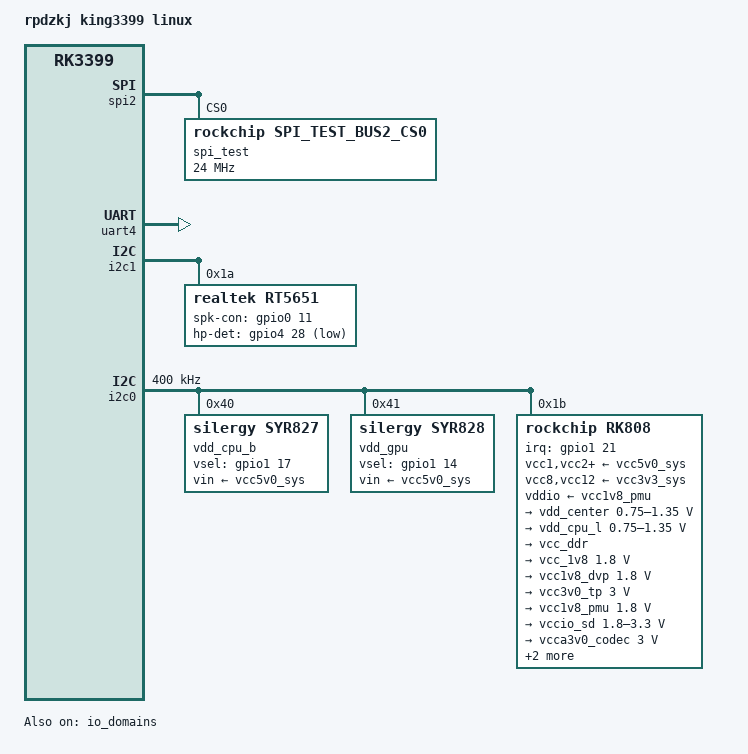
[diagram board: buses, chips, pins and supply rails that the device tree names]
#include "rk3399-sapphire-excavator-linux.dtsi"
#include "rp-usb-typec.dtsi"

//#include "rp-lcd-hdmi.dtsi"
//#include "rp-lcd-mipi-5-720-1280.dtsi"
//#include "rp-lcd-mipi-5.5-720-1280.dtsi"
//#include "rp-lcd-mipi-5.5-1080-1920.dtsi"
#include "rp-lcd-mipi-7-1024-600.dtsi"
//#include "rp-lcd-mipi-7-800-1280.dtsi"
//#include "rp-lcd-mipi-7-1200-1920.dtsi"
//#include "rp-lcd-mipi-8-800-1280.dtsi"
//#include "rp-lcd-mipi-8-800-1280-new.dtsi"
//#include "rp-lcd-mipi-10-800-1280.dtsi"
//#include "rp-lcd-mipi-10-1920-1200.dtsi"
//#include "rp-lcd-edp-13.3-1920-1080.dtsi"



/ {

        model = "rpdzkj king3399 linux";
        compatible = "rockchip,rk3399-excavator-linux", "rockchip,rk3399";

        rt5651-sound {
                compatible = "simple-audio-card";
                simple-audio-card,format = "i2s";
                simple-audio-card,name = "realtek,rt5651-codec";
                simple-audio-card,mclk-fs = <256>;
                simple-audio-card,widgets =
                        "Microphone", "Mic Jack",
                        "Headphone", "Headphone Jack";
                simple-audio-card,routing =
                        "Mic Jack", "MICBIAS1",
                        "IN1P", "Mic Jack",
                        "Headphone Jack", "HPOL",
                        "Headphone Jack", "HPOR";
                simple-audio-card,cpu {
                        sound-dai = <&i2s0>;
                };
                simple-audio-card,codec {
                        sound-dai = <&rt5651>;
                };
        };
        
        rp_power{
            compatible = "rp_power";

            rp_not_deep_sleep = <1>;
            status = "okay";

            // GPIO_FUNCTION_OUTPUT 0
            // GPIO_FUNCTION_INPUT 1
            // GPIO_FUNCTION_IRQ 2
            // GPIO_FUNCTION_FLASH 3
            // GPIO_FUNCTION_OUTPUT_CTRL 4
            
            breathe-led { //run led
                gpio_num = <&gpio4 24 GPIO_ACTIVE_HIGH>;
                gpio_function = <3>;
            };
            
            power_en { 
                gpio_num = <&gpio4 30 GPIO_ACTIVE_HIGH>;
                gpio_function = <4>;
            }; 
            
            uart5_en { 
                gpio_num = <&gpio4 29 GPIO_ACTIVE_HIGH>;
                gpio_function = <4>;
            }; 
            
            hub_rst { 
                gpio_num = <&gpio1 24 GPIO_ACTIVE_HIGH>;
                gpio_function = <4>;
            }; 
            
            fan_open { 
                gpio_num = <&gpio1 18 GPIO_ACTIVE_HIGH>;
                gpio_function = <4>;
            }; 
            
            gsm_power_en { 
                gpio_num = <&gpio4 22 GPIO_ACTIVE_HIGH>;
                gpio_function = <4>;
            }; 
        };

        rp_gpio{
                status = "okay";
                compatible = "rp_gpio";
                base_value = <0>; //3288_5.1 = 0   3288_7.1.2 = 992  3288_ubuntu = 992   3399_7.1.2 = 1000 3399_ubuntu = 0  

		gpio4c5 {
                	gpio_num = <&gpio4 21 GPIO_ACTIVE_HIGH>;
                        gpio_function = <0>;            //0:output，1:input
                };
	};
};

&spi2 {
	status = "okay";
	max-freq = <50000000>;
	spi_test:spi_test@00 {
		status = "okay";
		compatible = "rockchip,spi_test_bus2_cs0";
		id = <2>;
		reg = <0>;
		spi-max-frequency = <24000000>;
		spi-cpha;
		spi-cpol;
	};
};

&uart4 {
	status = "okay";
};


&i2c1 {
        status = "okay";
        i2c-scl-rising-time-ns = <300>;
        i2c-scl-falling-time-ns = <15>;

        rt5651: rt5651@1a {
                #sound-dai-cells = <0>;
                compatible = "realtek,rt5651";
                reg = <0x1a>;
                clocks = <&cru SCLK_I2S_8CH_OUT>;
                clock-names = "mclk";
                pinctrl-names = "default";
                pinctrl-0 = <&i2s_8ch_mclk>;
                spk-con-gpio = <&gpio0 11 GPIO_ACTIVE_HIGH>;
                hp-det-gpio = <&gpio4 28 GPIO_ACTIVE_LOW>;
        };

};

&i2c0 {
        status = "okay";
        i2c-scl-rising-time-ns = <168>;
        i2c-scl-falling-time-ns = <4>;
        clock-frequency = <400000>;

        vdd_cpu_b: syr827@40 {
                compatible = "silergy,syr827";
                reg = <0x40>;
                vin-supply = <&vcc5v0_sys>;
                regulator-compatible = "fan53555-reg";
                pinctrl-names = "default";
                pinctrl-0 = <&vsel1_gpio>;
                vsel-gpios = <&gpio1 17 GPIO_ACTIVE_HIGH>;
                regulator-name = "vdd_cpu_b";
                regulator-min-microvolt = <712500>;
                regulator-max-microvolt = <1500000>;
                regulator-ramp-delay = <1000>;
                fcs,suspend-voltage-selector = <1>;
                regulator-always-on;
                regulator-boot-on;
                regulator-initial-state = <3>;
                        regulator-state-mem {
                        regulator-off-in-suspend;
                };
        };

        vdd_gpu: syr828@41 {
                compatible = "silergy,syr828";
                reg = <0x41>;
                vin-supply = <&vcc5v0_sys>;
                regulator-compatible = "fan53555-reg";
                pinctrl-names = "default";
                pinctrl-0 = <&vsel2_gpio>;
                vsel-gpios = <&gpio1 14 GPIO_ACTIVE_HIGH>;
                regulator-name = "vdd_gpu";
                regulator-min-microvolt = <712500>;
                regulator-max-microvolt = <1500000>;
                regulator-ramp-delay = <1000>;
                fcs,suspend-voltage-selector = <1>;
                regulator-always-on;
                regulator-boot-on;
                regulator-initial-state = <3>;
                        regulator-state-mem {
                        regulator-off-in-suspend;
                };
        };

        rk808: pmic@1b {
                compatible = "rockchip,rk808";
                reg = <0x1b>;
                interrupt-parent = <&gpio1>;
                interrupts = <21 IRQ_TYPE_LEVEL_LOW>;
                pinctrl-names = "default";
                pinctrl-0 = <&pmic_int_l &pmic_dvs2>;
                rockchip,system-power-controller;
                wakeup-source;
                #clock-cells = <1>;
              //  clock-output-names = "xin32k", "rk808-clkout2";
               clock-output-names = "rk808-clkout1", "rk808-clkout2";   //wifi 
/*
               vcc1-supply = <&vcc3v3_sys>;
               vcc2-supply = <&vcc3v3_sys>;
               vcc3-supply = <&vcc3v3_sys>;
               vcc4-supply = <&vcc3v3_sys>;
               vcc6-supply = <&vcc3v3_sys>;
               vcc7-supply = <&vcc3v3_sys>;
                vcc8-supply = <&vcc3v3_sys>;
               vcc9-supply = <&vcc3v3_sys>;
               vcc10-supply = <&vcc3v3_sys>;
               vcc11-supply = <&vcc3v3_sys>;
                vcc12-supply = <&vcc3v3_sys>;
               vddio-supply = <&vcc_3v0>;

*/
                vcc1-supply = <&vcc5v0_sys>;
                vcc2-supply = <&vcc5v0_sys>;
                vcc3-supply = <&vcc5v0_sys>;
                vcc4-supply = <&vcc5v0_sys>;
                vcca-supply = <&vcc5v0_sys>;
                vcc6-supply = <&vcc5v0_sys>;
                vcc7-supply = <&vcc5v0_sys>;
                vcc8-supply = <&vcc3v3_sys>;
                vcc9-supply = <&vcc5v0_sys>;
                vcc10-supply = <&vcc5v0_sys>;
                vcc11-supply = <&vcc5v0_sys>;
                vcc12-supply = <&vcc3v3_sys>;
                vddio-supply = <&vcc1v8_pmu>;

                regulators {
                        vdd_center: DCDC_REG1 {
                                regulator-always-on;
                                regulator-boot-on;
                                regulator-min-microvolt = <750000>;
                                regulator-max-microvolt = <1350000>;
                                regulator-ramp-delay = <6001>;
                                regulator-name = "vdd_center";
                                regulator-state-mem {
                                        regulator-off-in-suspend;
                                };
                        };

                        vdd_cpu_l: DCDC_REG2 {
                                regulator-always-on;
                                regulator-boot-on;
                                regulator-min-microvolt = <750000>;
                                regulator-max-microvolt = <1350000>;
                                regulator-ramp-delay = <6001>;
                                regulator-name = "vdd_cpu_l";
                                regulator-state-mem {
                                        regulator-off-in-suspend;
                                };
                        };

                        vcc_ddr: DCDC_REG3 {
                                regulator-always-on;
                                regulator-boot-on;
                                regulator-name = "vcc_ddr";
                                regulator-state-mem {
                                        regulator-on-in-suspend;
                                };
                        };

                        vcc_1v8: DCDC_REG4 {
                                regulator-always-on;
                                regulator-boot-on;
                                regulator-min-microvolt = <1800000>;
                                regulator-max-microvolt = <1800000>;
                                regulator-name = "vcc_1v8";
                                regulator-state-mem {
                                        regulator-on-in-suspend;
                                        regulator-suspend-microvolt = <1800000>;
                                };
                        };

                        vcc1v8_dvp: LDO_REG1 {
                                regulator-always-on;
                                regulator-boot-on;
                                regulator-min-microvolt = <1800000>;
                                regulator-max-microvolt = <1800000>;
                                regulator-name = "vcc1v8_dvp";
                                regulator-state-mem {
                                        regulator-off-in-suspend;
                                };
                        };

                        vcc3v0_tp: LDO_REG2 {
                                regulator-always-on;
                                regulator-boot-on;
                                regulator-min-microvolt = <3000000>;
                                regulator-max-microvolt = <3000000>;
                                regulator-name = "vcc3v0_tp";
                                regulator-state-mem {
                                        //regulator-off-in-suspend;
                                        regulator-on-in-suspend;
                                        regulator-suspend-microvolt = <3000000>;
                                };
                        };

                        vcc1v8_pmu: LDO_REG3 {
                                regulator-always-on;
                                regulator-boot-on;
                                regulator-min-microvolt = <1800000>;
                                regulator-max-microvolt = <1800000>;
                                regulator-name = "vcc1v8_pmu";
                                regulator-state-mem {
                                        regulator-on-in-suspend;
                                        regulator-suspend-microvolt = <1800000>;
                                };
                        };

                        vccio_sd: LDO_REG4 {
                                regulator-always-on;
                                regulator-boot-on;
                                regulator-min-microvolt = <1800000>;
                                regulator-max-microvolt = <3300000>;
                                regulator-name = "vccio_sd";
                                regulator-state-mem {
                                        regulator-on-in-suspend;
                                        regulator-suspend-microvolt = <3300000>;
                                };
                        };

                        vcca3v0_codec: LDO_REG5 {
                                regulator-always-on;
                                regulator-boot-on;
                                regulator-min-microvolt = <3000000>;
                                regulator-max-microvolt = <3000000>;
                                regulator-name = "vcca3v0_codec";
                                regulator-state-mem {
                                        regulator-off-in-suspend;
                                     //   regulator-suspend-microvolt = <3000000>;
                                };
                        };

                        vcc_1v5: LDO_REG6 {
                                regulator-always-on;
                                regulator-boot-on;
                                regulator-min-microvolt = <1500000>;
                                regulator-max-microvolt = <1500000>;
                                regulator-name = "vcc_1v5";
                                regulator-state-mem {
                                        regulator-on-in-suspend;
                                        regulator-suspend-microvolt = <1500000>;
                                };
                        };

                        vcca1v8_codec: LDO_REG7 {
                                regulator-always-on;
                                regulator-boot-on;
                                regulator-min-microvolt = <1800000>;
                                regulator-max-microvolt = <1800000>;
                                regulator-name = "vcca1v8_codec";
                                regulator-state-mem {
                                        regulator-off-in-suspend;
                                    //    regulator-suspend-microvolt = <1800000>;
                                };
                        };

                        vcc_3v0: LDO_REG8 {
                                regulator-always-on;
                                regulator-boot-on;
                                regulator-min-microvolt = <3000000>;
                                regulator-max-microvolt = <3000000>;
                                regulator-name = "vcc_3v0";
                                regulator-state-mem {
                                        regulator-on-in-suspend;
                                        regulator-suspend-microvolt = <3000000>;
                                };
                        };

                        vcc3v3_s3: SWITCH_REG1 {
                                regulator-always-on;
                                regulator-boot-on;
                                regulator-name = "vcc3v3_s3";
                                regulator-state-mem {
                                        regulator-off-in-suspend;
                                };
                        };

                        vcc3v3_s0: SWITCH_REG2 {
                                regulator-always-on;
                                regulator-boot-on;
                                regulator-name = "vcc3v3_s0";
                                regulator-state-mem {
                                        regulator-off-in-suspend;
                                };
                        };
                };
        };
};

&io_domains {
        status = "okay";
        bt656-supply = <&vcc_1v8>;              /* bt656_gpio2ab_ms */
        audio-supply = <&vcca1v8_codec>;        /* audio_gpio3d4a_ms */
        sdmmc-supply = <&vccio_sd>;             /* sdmmc_gpio4b_ms */
        gpio1830-supply = <&vcc_3v0>;           /* gpio1833_gpio4cd_ms */
};

&pmu_io_domains {
        status = "okay";
        pmu1830-supply = <&vcc_1v8>;     //king usb
};


&hdmi_sound {
	status = "disabled";
};

&spi1 {
        status = "disabled";
};

&fiq_debugger {
       rockchip,baudrate = <115200>;  /* Only 115200 and 1500000 */
};

&dfi {
       status = "disabled";
};
 
&dmc {
       status = "disabled";
};




